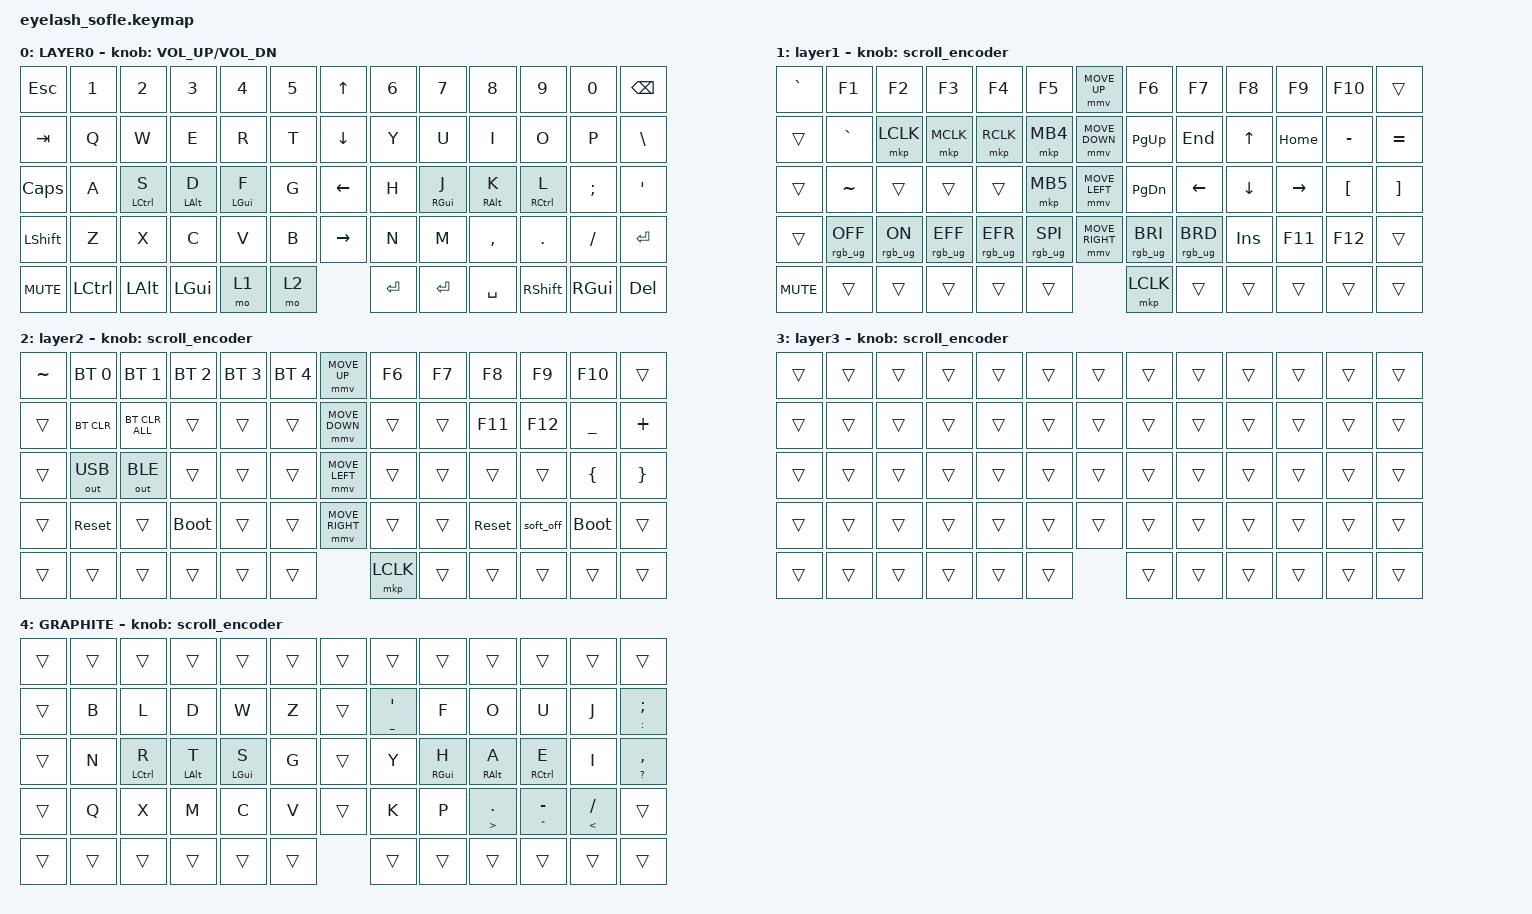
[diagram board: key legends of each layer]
#define ZMK_POINTING_DEFAULT_MOVE_VAL 1200  // 600
#define ZMK_POINTING_DEFAULT_SCRL_VAL 25   // 10

#include <input/processors.dtsi>
#include <zephyr/dt-bindings/input/input-event-codes.h>
#include <behaviors.dtsi>
#include <dt-bindings/zmk/bt.h>
#include <dt-bindings/zmk/keys.h>
#include <dt-bindings/zmk/outputs.h>
#include <dt-bindings/zmk/pointing.h>
#include <dt-bindings/zmk/rgb.h>

&mt {
    tapping-term-ms = <200>;
    quick-tap-ms = <150>;
    flavor = "tap-preferred";
    hold-trigger-on-release;
};

&mmv_input_listener { input-processors = <&zip_xy_scaler 2 1>; };

&msc_input_listener { input-processors = <&zip_scroll_scaler 2 1>; };

&msc {
    acceleration-exponent = <1>;      // 0
    time-to-max-speed-ms = <100>;       // 300
    delay-ms = <0>;                   // 0
};

&mmv {
    time-to-max-speed-ms = <500>;
    acceleration-exponent = <1>;
    trigger-period-ms = <16>;
};

&soft_off { hold-time-ms = <2000>; };

/ {
    scroll_encoder: scroll_encoder {
        compatible = "zmk,behavior-sensor-rotate";
        #sensor-binding-cells = <0>;
        bindings = <&msc SCRL_DOWN>, <&msc SCRL_UP>;

        tap-ms = <100>;
    };

    behaviors {
    };

    combos {
        compatible = "zmk,combos";

        softoff {
            bindings = <&soft_off>;
            key-positions = <14 28 40>;
        };

        graphite_toggle {
            bindings = <&tog 4>;     // toggle layer_4
            key-positions = <56 57>; // &mo 1 and &mo 2 together
            layers = <0>;            // only from base layer
        };
    };

    keymap {
        compatible = "zmk,keymap";

        layer0 {
            bindings = <
&kp ESC     &kp N1     &kp N2        &kp N3        &kp N4  &kp N5       &kp UP_ARROW     &kp N6     &kp N7     &kp N8     &kp N9           &kp N0      &kp BACKSPACE
&kp TAB     &kp Q      &kp W         &kp E         &kp R   &kp T        &kp DOWN_ARROW   &kp Y      &kp U      &kp I      &kp O            &kp P       &kp BSLH
&kp CAPS    &kp A      &mt LCTRL S   &mt LALT D    &mt LGUI F   &kp G   &kp LEFT_ARROW   &kp H      &mt RGUI J &mt RALT K &mt RCTRL L      &kp SEMI    &kp APOS
&kp LSHFT   &kp Z      &kp X         &kp C         &kp V   &kp B        &kp RIGHT_ARROW  &kp N      &kp M      &kp COMMA  &kp DOT          &kp FSLH    &kp ENTER
&kp C_MUTE  &kp LCTRL  &kp LEFT_ALT  &kp LEFT_GUI  &mo 1   &mo 2        &kp ENTER        &kp ENTER  &kp SPACE  &kp RIGHT_SHIFT      &kp RIGHT_GUI  &kp DELETE
            >;

            sensor-bindings = <&inc_dec_kp C_VOLUME_UP C_VOL_DN>;
            display-name = "LAYER0";
        };

        layer_1 {
            bindings = <
&kp GRAVE   &kp F1           &kp F2          &kp F3           &kp F4           &kp F5             &mmv MOVE_UP     &kp F6           &kp F7           &kp F8      &kp F9     &kp F10           &trans
&trans      &kp GRAVE        &mkp LCLK       &mkp MCLK        &mkp RCLK        &mkp MB4           &mmv MOVE_DOWN   &kp PG_UP        &kp END          &kp UP      &kp HOME   &kp MINUS         &kp EQUAL
&trans      &kp TILDE        &trans          &trans           &trans           &mkp MB5           &mmv MOVE_LEFT   &kp PG_DN        &kp LEFT         &kp DOWN    &kp RIGHT  &kp LEFT_BRACKET  &kp RIGHT_BRACKET
&trans      &rgb_ug RGB_OFF  &rgb_ug RGB_ON  &rgb_ug RGB_EFF  &rgb_ug RGB_EFR  &rgb_ug RGB_SPI    &mmv MOVE_RIGHT  &rgb_ug RGB_BRI  &rgb_ug RGB_BRD  &kp INSERT  &kp F11    &kp F12           &trans
&kp C_MUTE  &trans           &trans          &trans           &trans           &trans             &mkp LCLK        &trans           &trans           &trans      &trans     &trans
            >;

            display-name = "layer1";
            sensor-bindings = <&scroll_encoder>;
        };

        layer_2 {
            bindings = <
&kp TILDE  &bt BT_SEL 0  &bt BT_SEL 1    &bt BT_SEL 2  &bt BT_SEL 3  &bt BT_SEL 4    &mmv MOVE_UP     &kp F6  &kp F7  &kp F8      &kp F9     &kp F10      &trans
&trans     &bt BT_CLR    &bt BT_CLR_ALL  &trans        &trans        &trans          &mmv MOVE_DOWN   &trans  &trans  &kp F11     &kp F12    &kp UNDER    &kp PLUS
&trans     &out OUT_USB  &out OUT_BLE    &trans        &trans        &trans          &mmv MOVE_LEFT   &trans  &trans  &trans      &trans     &kp LBRC     &kp RBRC
&trans     &sys_reset    &trans          &bootloader   &trans        &trans          &mmv MOVE_RIGHT  &trans  &trans  &sys_reset  &soft_off  &bootloader  &trans
&trans     &trans        &trans          &trans        &trans        &trans          &mkp LCLK        &trans  &trans  &trans      &trans     &trans
            >;

            display-name = "layer2";
            sensor-bindings = <&scroll_encoder>;
        };

        layer_3 {
            bindings = <
&trans  &trans  &trans  &trans  &trans  &trans    &trans  &trans  &trans  &trans  &trans  &trans  &trans
&trans  &trans  &trans  &trans  &trans  &trans    &trans  &trans  &trans  &trans  &trans  &trans  &trans
&trans  &trans  &trans  &trans  &trans  &trans    &trans  &trans  &trans  &trans  &trans  &trans  &trans
&trans  &trans  &trans  &trans  &trans  &trans    &trans  &trans  &trans  &trans  &trans  &trans  &trans
&trans  &trans  &trans  &trans  &trans  &trans    &trans  &trans  &trans  &trans  &trans  &trans
            >;

            display-name = "layer3";
            sensor-bindings = <&scroll_encoder>;
        };

        layer_4 {
            bindings = <
&trans  &trans  &trans  &trans  &trans  &trans    &trans  &trans  &trans  &trans  &trans  &trans  &trans
&trans  &kp B   &kp L   &kp D   &kp W   &kp Z     &trans  &mt UNDER APOS  &kp F   &kp O   &kp U   &kp J   &mt COLON SEMI
&trans  &kp N   &mt LCTRL R   &mt LALT T   &mt LGUI S   &kp G   &trans  &kp Y   &mt RGUI H   &mt RALT A   &mt RCTRL E   &kp I   &mt QMARK COMMA
&trans  &kp Q   &kp X   &kp M   &kp C   &kp V     &trans  &kp K   &kp P   &mt GT DOT &mt DQT MINUS &mt LT FSLH &trans
&trans  &trans  &trans  &trans  &trans  &trans    &trans  &trans  &trans  &trans  &trans  &trans
            >;

            display-name = "GRAPHITE";
            sensor-bindings = <&scroll_encoder>;
        };
    };
};
